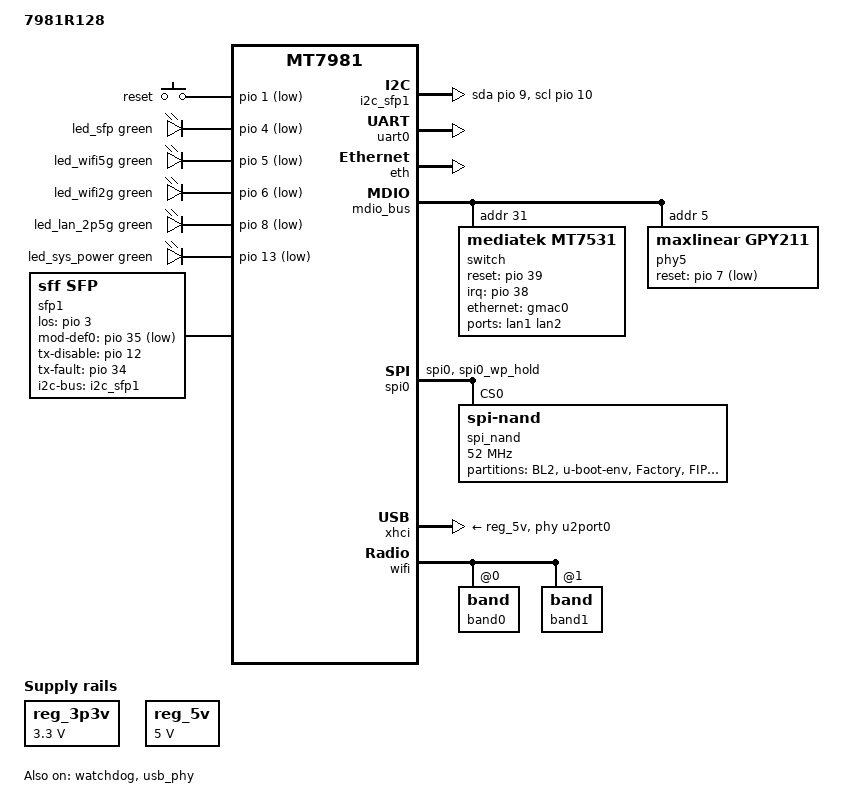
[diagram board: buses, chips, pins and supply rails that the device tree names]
// SPDX-License-Identifier: (GPL-2.0 OR MIT)

/dts-v1/;
#include <dt-bindings/leds/common.h>
#include "mt7981.dtsi"

/ {
	model = "7981R128";
	compatible = "zhao,7981r128", "mediatek,mt7981";
	aliases {
		label-mac-device = &gmac1;
		led-boot = &led_sys_power;
		led-failsafe = &led_sys_power;
		led-running = &led_sys_power;
		led-upgrade = &led_sys_power;
		serial0 = &uart0;
	};

	chosen: chosen {
		stdout-path = "serial0:115200n8";
	};

	gpio-keys {
		compatible = "gpio-keys";

		reset {
			label = "reset";
			linux,code = <KEY_RESTART>;
			gpios = <&pio 1 GPIO_ACTIVE_LOW>;
		};
	};

	leds {
		compatible = "gpio-leds";

		led_sfp: led-sfp {
			function = LED_FUNCTION_STATUS;
			color = <LED_COLOR_ID_GREEN>;
			gpios = <&pio 4 GPIO_ACTIVE_LOW>;
		};

		led_wifi5g: led-wifi5g {
			function = LED_FUNCTION_WLAN_5GHZ;
			color = <LED_COLOR_ID_GREEN>;
			gpios = <&pio 5 GPIO_ACTIVE_LOW>;
			linux,default-trigger = "phy1tpt";
		};

		led_wifi2g: led-wifi2g {
			function = LED_FUNCTION_WLAN_2GHZ;
			color = <LED_COLOR_ID_GREEN>;
			gpios = <&pio 6 GPIO_ACTIVE_LOW>;
			linux,default-trigger = "phy0tpt";
		};		

		led_lan_2p5g: led-lan-2p5g {
			function = LED_FUNCTION_LAN;
			color = <LED_COLOR_ID_GREEN>;
			gpios = <&pio 8 GPIO_ACTIVE_LOW>;
		};
		
		led_sys_power: power {
			function = LED_FUNCTION_STATUS;
			color = <LED_COLOR_ID_GREEN>;
			gpios = <&pio 13 GPIO_ACTIVE_LOW>;
		};		
		
	};

	i2c_sfp1: i2c-gpio-0 {
		compatible = "i2c-gpio";
		sda-gpios = <&pio 9 (GPIO_ACTIVE_HIGH | GPIO_OPEN_DRAIN)>;
		scl-gpios = <&pio 10 (GPIO_ACTIVE_HIGH | GPIO_OPEN_DRAIN)>;
		i2c-gpio,delay-us = <2>;
		#address-cells = <1>;
		#size-cells = <0>;
	};

	sfp1: sfp1 {
		compatible = "sff,sfp";
		i2c-bus = <&i2c_sfp1>;
		los-gpios = <&pio 3 GPIO_ACTIVE_HIGH>;
		mod-def0-gpios = <&pio 35 GPIO_ACTIVE_LOW>;
		tx-disable-gpios = <&pio 12 GPIO_ACTIVE_HIGH>;
		tx-fault-gpios = <&pio 34 GPIO_ACTIVE_HIGH>;
		maximum-power-milliwatt = <3000>;
	};

	reg_3p3v: regulator-3p3v {
		compatible = "regulator-fixed";
		regulator-name = "fixed-3.3V";
		regulator-min-microvolt = <3300000>;
		regulator-max-microvolt = <3300000>;
		regulator-boot-on;
		regulator-always-on;
	};

	reg_5v: regulator-5v {
		compatible = "regulator-fixed";
		regulator-name = "fixed-5V";
		regulator-min-microvolt = <5000000>;
		regulator-max-microvolt = <5000000>;
		regulator-boot-on;
		regulator-always-on;
	};
};

&uart0 {
	status = "okay";
};

&watchdog {
	status = "okay";
};

&eth {
	status = "okay";

	gmac0: mac@0 {
        compatible = "mediatek,eth-mac";
        reg = <0>;
        phy-mode = "2500base-x";

        fixed-link {
            speed = <2500>;
            full-duplex;
            pause;
        };
    };

	gmac1: mac@1 {
		compatible = "mediatek,eth-mac";
		reg = <1>;
		nvmem-cells = <&macaddr_factory_4 0>;
		nvmem-cell-names = "mac-address";

		phy-mode = "2500base-x";
		managed = "in-band-status";
		sfp = <&sfp1>;
	};
};

&mdio_bus {
	switch: switch@1f {
		compatible = "mediatek,mt7531";
		reg = <31>;
		reset-gpios = <&pio 39 GPIO_ACTIVE_HIGH>;

		interrupt-controller;
		#interrupt-cells = <1>;
		interrupt-parent = <&pio>;
		interrupts = <38 IRQ_TYPE_LEVEL_HIGH>;
	};

	phy5: ethernet-phy@5 {
		/* GPY211 */
		compatible = "maxlinear,gpy211", "ethernet-phy-ieee802.3-c45";
		reg = <5>;
		reset-gpios = <&pio 7 GPIO_ACTIVE_LOW>;

	};
};

&switch {
	ports {
		#address-cells = <1>;
		#size-cells = <0>;

		port@1 {
			reg = <1>;
			label = "lan1";
		};

		port@5 {
			reg = <5>;
			label = "lan2";

			phy-mode = "2500base-x";
			phy-handle = <&phy5>;
		};

		port@6 {
			reg = <6>;
			ethernet = <&gmac0>;
			phy-mode = "2500base-x";

			fixed-link {
				speed = <2500>;
				full-duplex;
				pause;
			};
		};
	};
};

&spi0 {
	pinctrl-names = "default";
	pinctrl-0 = <&spi0_flash_pins>;
	status = "okay";

	spi_nand: flash@0 {
		#address-cells = <1>;
		#size-cells = <1>;
		compatible = "spi-nand";
		reg = <0>;

		spi-max-frequency = <52000000>;
		spi-tx-bus-width = <4>;
		spi-rx-bus-width = <4>;

		mediatek,nmbm;
		mediatek,bmt-max-ratio = <1>;
		mediatek,bmt-max-reserved-blocks = <64>;
		mediatek,bmt-mtd-overridden-oobsize = <64>;

		partitions {
			compatible = "fixed-partitions";
			#address-cells = <1>;
			#size-cells = <1>;

			partition@0 {
				label = "BL2";
				reg = <0x00000 0x0100000>;
			};

			partition@100000 {
				label = "u-boot-env";
				reg = <0x0100000 0x0080000>;
			};

			factory: partition@180000 {
				label = "Factory";
				reg = <0x180000 0x0200000>;

				nvmem-layout {
					compatible = "fixed-layout";
					#address-cells = <1>;
					#size-cells = <1>;

					eeprom_factory_0: eeprom@0 {
						reg = <0x0 0x1000>;
					};

					macaddr_factory_4: macaddr@4 {
						compatible = "mac-base";
						reg = <0x4 0x6>;
						#nvmem-cell-cells = <1>;
					};
				};
			};

			partition@380000 {
				label = "FIP";
				reg = <0x380000 0x0200000>;
			};

			partition@580000 {
				label = "ubi";
				reg = <0x580000 0x7200000>;
			};
		};
	};
};

&pio {
	i2c0_pins: i2c0-pins {
		mux {
			function = "i2c";
			groups = "i2c";
		};
	};

	spi0_flash_pins: spi0-pins {
		mux {
			function = "spi";
			groups = "spi0", "spi0_wp_hold";
		};
	};
};

&usb_phy {
	status = "okay";
};

&xhci {
	mediatek,u3p-dis-msk = <0x0>;
	phys = <&u2port0 PHY_TYPE_USB2>,
	       <&u3port0 PHY_TYPE_USB3>;
	status = "okay";
	vusb33-supply = <&reg_3p3v>;
	vbus-supply = <&reg_5v>;
};


&wifi {
	status = "okay";
	nvmem-cells = <&eeprom_factory_0>;
	nvmem-cell-names = "eeprom";

	band0: band@0 {
		reg = <0>;
		nvmem-cells = <&macaddr_factory_4 2>;
		nvmem-cell-names = "mac-address";
	};

	band1: band@1 {
		reg = <1>;
		nvmem-cells = <&macaddr_factory_4 3>;
		nvmem-cell-names = "mac-address";
	};
};
